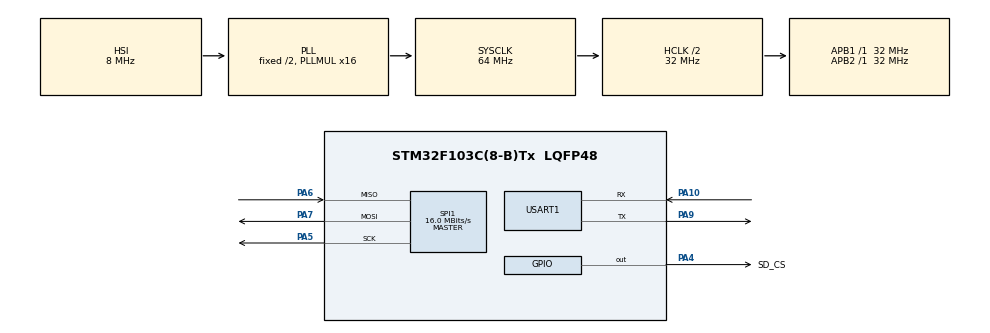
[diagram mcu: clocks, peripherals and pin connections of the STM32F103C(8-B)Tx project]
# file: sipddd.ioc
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Mcu.Family=STM32F1
Mcu.Name=STM32F103C(8-B)Tx
Mcu.Package=LQFP48
NVIC.PriorityGroup=NVIC_PRIORITYGROUP_4
NVIC.USART1_IRQn=true\:0\:0\:false\:false\:true\:true\:true\:true
PA10.Mode=Asynchronous
PA10.Signal=USART1_RX
PA13.Mode=Serial_Wire
PA13.Signal=SYS_JTMS-SWDIO
PA14.Mode=Serial_Wire
PA14.Signal=SYS_JTCK-SWCLK
PA4.GPIO_Label=SD_CS
PA4.Signal=GPIO_Output
PA5.Mode=Full_Duplex_Master
PA5.Signal=SPI1_SCK
PA6.Mode=Full_Duplex_Master
PA6.Signal=SPI1_MISO
PA7.Mode=Full_Duplex_Master
PA7.Signal=SPI1_MOSI
PA9.Mode=Asynchronous
PA9.Signal=USART1_TX
ProjectManager.HeapSize=0x200
ProjectManager.StackSize=0x1400
ProjectManager.TargetToolchain=MDK-ARM V5
RCC.AHBCLKDivider=RCC_SYSCLK_DIV2
RCC.AHBFreq_Value=32000000
RCC.APB1Freq_Value=32000000
RCC.APB1TimFreq_Value=32000000
RCC.APB2Freq_Value=32000000
RCC.APB2TimFreq_Value=32000000
RCC.HCLKFreq_Value=32000000
RCC.PLLMUL=RCC_PLL_MUL16
RCC.SYSCLKFreq_VALUE=64000000
RCC.SYSCLKSource=RCC_SYSCLKSOURCE_PLLCLK
RCC.USBFreq_Value=64000000
SPI1.BaudRatePrescaler=SPI_BAUDRATEPRESCALER_2
SPI1.CalculateBaudRate=16.0 MBits/s
SPI1.Direction=SPI_DIRECTION_2LINES
SPI1.Mode=SPI_MODE_MASTER
SPI1.VirtualType=VM_MASTER
USART1.VirtualMode=VM_ASYNC
VP_FATFS_VS_Generic.Mode=User_defined
board=custom

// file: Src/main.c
/* USER CODE BEGIN Header */
/**
  ******************************************************************************
  * @file           : main.c
  * @brief          : Main program body
  ******************************************************************************
  * @attention
  *
  * <h2><center>&copy; Copyright (c) 2019 STMicroelectronics.
  * All rights reserved.</center></h2>
  *
  * This software component is licensed by ST under Ultimate Liberty license
  * SLA0044, the "License"; You may not use this file except in compliance with
  * the License. You may obtain a copy of the License at:
  *                             www.st.com/SLA0044
  *
  ******************************************************************************
  */
/* USER CODE END Header */

#include "main.h"
#include "fatfs.h"

/* USER CODE BEGIN Includes */
#include "SDdriver.h"

/* USER CODE END Includes */

SPI_HandleTypeDef hspi1;

UART_HandleTypeDef huart1;

void SystemClock_Config(void);
static void MX_GPIO_Init(void);
static void MX_SPI1_Init(void);
static void MX_USART1_UART_Init(void);

/* USER CODE BEGIN 0 */
int fputc(int ch, FILE *f)
{
    HAL_UART_Transmit(&huart1, (unsigned char *)&ch, 1, 0xFFFF);
    return ch;
}
uint16_t uart_value[3];
uint8_t aRxBuffer1;	//uart rx buff

void WritetoSD(BYTE write_buff[],uint8_t bufSize);
char SD_FileName[] = "hello.txt";
uint8_t WriteBuffer[] = "01 write buff to sd \r\n";

//uint8_t test_sd =0;	//用于测试格式化
uint8_t write_cnt =0;	//写SD卡次数

void WritetoSD(BYTE write_buff[],uint8_t bufSize)
{
	FATFS fs;
	FIL file;
	uint8_t res=0;
	UINT Bw;

	res = SD_Initialize();		//SD卡初始化

	if(res == 1)
	{
		printf("SD卡初始化失败! \r\n");
	}
	else
	{
		printf("SD卡初始化成功！ \r\n");
	}

	res=f_mount(&fs,"0:",1);		//挂载

//	if(test_sd == 0)		//用于测试格式化
	if(res == FR_NO_FILESYSTEM)		//没有文件系统，格式化
	{
//		test_sd =1;				//用于测试格式化
		printf("没有文件系统! \r\n");
		res = f_mkfs("", 0, 0);		//格式化sd卡
		if(res == FR_OK)
		{
			printf("格式化成功! \r\n");
			res = f_mount(NULL,"0:",1); 		//格式化后先取消挂载
			res = f_mount(&fs,"0:",1);			//重新挂载
			if(res == FR_OK)
			{
				printf("SD卡已经成功挂载，可以进进行文件写入测试!\r\n");
			}
		}
		else
		{
			printf("格式化失败! \r\n");
		}
	}
	else if(res == FR_OK)
	{
		printf("挂载成功! \r\n");
	}
	else
	{
		printf("挂载失败! \r\n");
	}

	res = f_open(&file,SD_FileName,FA_OPEN_ALWAYS |FA_WRITE);
	if((res & FR_DENIED) == FR_DENIED)
	{
		printf("卡存储已满，写入失败!\r\n");
	}

	f_lseek(&file, f_size(&file));//确保写词写入不会覆盖之前的数据
	if(res == FR_OK)
	{
		printf("打开成功/创建文件成功！ \r\n");
		res = f_write(&file,write_buff,bufSize,&Bw);		//写数据到SD卡
		if(res == FR_OK)
		{
			printf("文件写入成功！ \r\n");
		}
		else
		{
			printf("文件写入失败！ \r\n");
		}
	}
	else
	{
		printf("打开文件失败!\r\n");
	}

	f_close(&file);						//关闭文件
	f_mount(NULL,"0:",1);		 //取消挂载

}

void Get_SDCard_Capacity(void)
{
	FRESULT result;
	FATFS FS;
	FATFS *fs;
	DWORD fre_clust,AvailableSize,UsedSize;
	uint16_t TotalSpace;
	uint8_t res;

	res = SD_Initialize();		//SD卡初始化
	if(res == 1)
	{
		printf("SD卡初始化失败! \r\n");
	}
	else
	{
		printf("SD卡初始化成功！ \r\n");
	}

	/* 挂载 */
	res=f_mount(&FS,"0:",1);		//挂载
	if (res != FR_OK)
	{
		printf("FileSystem Mounted Failed (%d)\r\n", result);
	}

	res = f_getfree("0:", &fre_clust, &fs);  /* 根目录 */
	if ( res == FR_OK )
	{
		TotalSpace=(uint16_t)(((fs->n_fatent - 2) * fs->csize ) / 2 /1024);
		AvailableSize=(uint16_t)((fre_clust * fs->csize) / 2 /1024);
		UsedSize=TotalSpace-AvailableSize;
		/* Print free space in unit of MB (assuming 512 bytes/sector) */
		printf("\r\n%d MB total drive space.\r\n""%d MB available.\r\n""%d MB  used.\r\n",TotalSpace, AvailableSize,UsedSize);
	}
	else
	{
		printf("Get SDCard Capacity Failed (%d)\r\n", result);
	}
}

/* USER CODE END 0 */

int main(void)
{

  /* MCU Configuration--------------------------------------------------------*/

  /* Reset of all peripherals, Initializes the Flash interface and the Systick. */
  HAL_Init();

  /* Configure the system clock */
  SystemClock_Config();

  /* Initialize all configured peripherals */
  MX_GPIO_Init();
  MX_SPI1_Init();
  MX_FATFS_Init();
  MX_USART1_UART_Init();
  /* USER CODE BEGIN 2 */

	HAL_UART_Receive_IT(&huart1,&aRxBuffer1,1); 	//enable uart

	printf(" main \r\n");

	Get_SDCard_Capacity();	//得到使用内存并选择格式化

  /* USER CODE END 2 */

  /* Infinite loop */
  /* USER CODE BEGIN WHILE */
  while (1)
  {

		WritetoSD(WriteBuffer,sizeof(WriteBuffer));

		HAL_Delay(500);
		WriteBuffer[0] = WriteBuffer[0] +10;
		WriteBuffer[1] = WriteBuffer[1] +10;
		write_cnt ++;

		while(write_cnt > 10)
		{
			printf(" while \r\n");
			HAL_Delay(500);
		}

    /* USER CODE END WHILE */

  }
}

void SystemClock_Config(void)
{
  RCC_OscInitTypeDef RCC_OscInitStruct = {0};
  RCC_ClkInitTypeDef RCC_ClkInitStruct = {0};

  /** Initializes the CPU, AHB and APB busses clocks
  */
  RCC_OscInitStruct.OscillatorType = RCC_OSCILLATORTYPE_HSI;
  RCC_OscInitStruct.HSIState = RCC_HSI_ON;
  RCC_OscInitStruct.HSICalibrationValue = RCC_HSICALIBRATION_DEFAULT;
  RCC_OscInitStruct.PLL.PLLState = RCC_PLL_ON;
  RCC_OscInitStruct.PLL.PLLSource = RCC_PLLSOURCE_HSI_DIV2;
  RCC_OscInitStruct.PLL.PLLMUL = RCC_PLL_MUL16;
  if (HAL_RCC_OscConfig(&RCC_OscInitStruct) != HAL_OK)
  {
    Error_Handler();
  }
  /** Initializes the CPU, AHB and APB busses clocks
  */
  RCC_ClkInitStruct.ClockType = RCC_CLOCKTYPE_HCLK|RCC_CLOCKTYPE_SYSCLK
                              |RCC_CLOCKTYPE_PCLK1|RCC_CLOCKTYPE_PCLK2;
  RCC_ClkInitStruct.SYSCLKSource = RCC_SYSCLKSOURCE_PLLCLK;
  RCC_ClkInitStruct.AHBCLKDivider = RCC_SYSCLK_DIV2;
  RCC_ClkInitStruct.APB1CLKDivider = RCC_HCLK_DIV1;
  RCC_ClkInitStruct.APB2CLKDivider = RCC_HCLK_DIV1;

  if (HAL_RCC_ClockConfig(&RCC_ClkInitStruct, FLASH_LATENCY_2) != HAL_OK)
  {
    Error_Handler();
  }
}

static void MX_SPI1_Init(void)
{

  /* SPI1 parameter configuration*/
  hspi1.Instance = SPI1;
  hspi1.Init.Mode = SPI_MODE_MASTER;
  hspi1.Init.Direction = SPI_DIRECTION_2LINES;
  hspi1.Init.DataSize = SPI_DATASIZE_8BIT;
  hspi1.Init.CLKPolarity = SPI_POLARITY_LOW;
  hspi1.Init.CLKPhase = SPI_PHASE_1EDGE;
  hspi1.Init.NSS = SPI_NSS_SOFT;
  hspi1.Init.BaudRatePrescaler = SPI_BAUDRATEPRESCALER_2;
  hspi1.Init.FirstBit = SPI_FIRSTBIT_MSB;
  hspi1.Init.TIMode = SPI_TIMODE_DISABLE;
  hspi1.Init.CRCCalculation = SPI_CRCCALCULATION_DISABLE;
  hspi1.Init.CRCPolynomial = 10;
  if (HAL_SPI_Init(&hspi1) != HAL_OK)
  {
    Error_Handler();
  }

}

static void MX_USART1_UART_Init(void)
{

  huart1.Instance = USART1;
  huart1.Init.BaudRate = 115200;
  huart1.Init.WordLength = UART_WORDLENGTH_8B;
  huart1.Init.StopBits = UART_STOPBITS_1;
  huart1.Init.Parity = UART_PARITY_NONE;
  huart1.Init.Mode = UART_MODE_TX_RX;
  huart1.Init.HwFlowCtl = UART_HWCONTROL_NONE;
  huart1.Init.OverSampling = UART_OVERSAMPLING_16;
  if (HAL_UART_Init(&huart1) != HAL_OK)
  {
    Error_Handler();
  }

}

static void MX_GPIO_Init(void)
{
  GPIO_InitTypeDef GPIO_InitStruct = {0};

  /* GPIO Ports Clock Enable */
  __HAL_RCC_GPIOA_CLK_ENABLE();

  /*Configure GPIO pin Output Level */
  HAL_GPIO_WritePin(SD_CS_GPIO_Port, SD_CS_Pin, GPIO_PIN_RESET);

  /*Configure GPIO pin : SD_CS_Pin */
  GPIO_InitStruct.Pin = SD_CS_Pin;
  GPIO_InitStruct.Mode = GPIO_MODE_OUTPUT_PP;
  GPIO_InitStruct.Pull = GPIO_NOPULL;
  GPIO_InitStruct.Speed = GPIO_SPEED_FREQ_LOW;
  HAL_GPIO_Init(SD_CS_GPIO_Port, &GPIO_InitStruct);

}

void Error_Handler(void)
{
}

/************************ (C) COPYRIGHT STMicroelectronics *****END OF FILE****/
